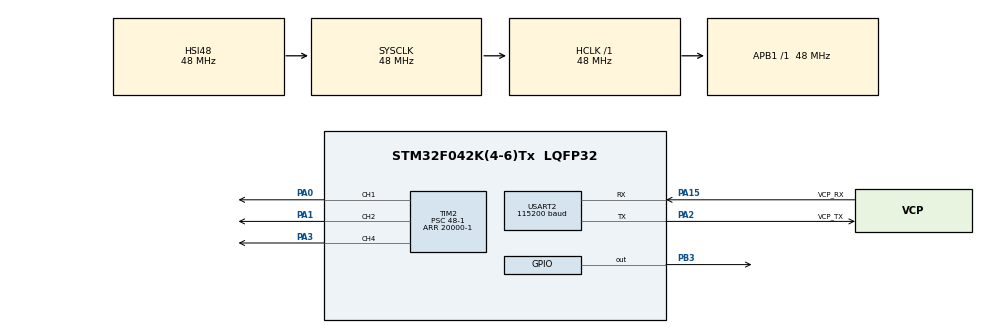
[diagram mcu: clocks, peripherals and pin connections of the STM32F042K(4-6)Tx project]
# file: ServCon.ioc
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Dma.Request0=USART2_RX
Dma.USART2_RX.0.Direction=DMA_PERIPH_TO_MEMORY
Dma.USART2_RX.0.Instance=DMA1_Channel5
Dma.USART2_RX.0.MemDataAlignment=DMA_MDATAALIGN_BYTE
Dma.USART2_RX.0.MemInc=DMA_MINC_ENABLE
Dma.USART2_RX.0.Mode=DMA_CIRCULAR
Dma.USART2_RX.0.PeriphDataAlignment=DMA_PDATAALIGN_BYTE
Dma.USART2_RX.0.PeriphInc=DMA_PINC_DISABLE
Dma.USART2_RX.0.Priority=DMA_PRIORITY_LOW
Mcu.Family=STM32F0
Mcu.Name=STM32F042K(4-6)Tx
Mcu.Package=LQFP32
NVIC.DMA1_Channel4_5_IRQn=true\:0\:0\:false\:false\:true\:false\:true\:true
NVIC.USART2_IRQn=true\:0\:0\:false\:false\:true\:true\:true\:true
PA0.Signal=S_TIM2_CH1_ETR
PA1.Signal=S_TIM2_CH2
PA13.GPIO_Label=SWDIO
PA13.Mode=Serial_Wire
PA13.Signal=SYS_SWDIO
PA14.GPIO_Label=SWCLK
PA14.Mode=Serial_Wire
PA14.Signal=SYS_SWCLK
PA15.GPIO_Label=VCP_RX
PA15.Mode=Asynchronous
PA15.Signal=USART2_RX
PA2.GPIO_Label=VCP_TX
PA2.Mode=Asynchronous
PA2.Signal=USART2_TX
PA3.Signal=S_TIM2_CH4
PB3.Signal=GPIO_Output
PF0-OSC_IN.GPIO_Label=MCO
PF0-OSC_IN.Mode=HSE-External-Clock-Source
PF0-OSC_IN.Signal=RCC_OSC_IN
ProjectManager.HeapSize=0x200
ProjectManager.StackSize=0x400
ProjectManager.TargetToolchain=STM32CubeIDE
RCC.AHBFreq_Value=48000000
RCC.APB1Freq_Value=48000000
RCC.APB1TimFreq_Value=48000000
RCC.HCLKFreq_Value=48000000
RCC.SYSCLKFreq_VALUE=48000000
RCC.SYSCLKSource=RCC_SYSCLKSOURCE_HSI48
SH.S_TIM2_CH1_ETR.0=TIM2_CH1,PWM Generation1 CH1
SH.S_TIM2_CH2.0=TIM2_CH2,PWM Generation2 CH2
SH.S_TIM2_CH4.0=TIM2_CH4,PWM Generation4 CH4
TIM2.AutoReloadPreload=TIM_AUTORELOAD_PRELOAD_ENABLE
TIM2.Channel-PWM\ Generation1\ CH1=TIM_CHANNEL_1
TIM2.Channel-PWM\ Generation2\ CH2=TIM_CHANNEL_2
TIM2.Channel-PWM\ Generation4\ CH4=TIM_CHANNEL_4
TIM2.Period=20000-1
TIM2.Prescaler=48-1
TIM2.Pulse-PWM\ Generation1\ CH1=0
USART2.BaudRate=115200
USART2.VirtualMode-Asynchronous=VM_ASYNC
VP_TIM2_VS_ClockSourceINT.Mode=Internal
board=NUCLEO-F042K6

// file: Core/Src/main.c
/* USER CODE BEGIN Header */
/**
  ******************************************************************************
  * @file           : main.c
  * @brief          : Main program body
  ******************************************************************************
  * @attention
  *
  * Copyright (c) 2022 STMicroelectronics.
  * All rights reserved.
  *
  * This software is licensed under terms that can be found in the LICENSE file
  * in the root directory of this software component.
  * If no LICENSE file comes with this software, it is provided AS-IS.
  *
  ******************************************************************************
  */
/* USER CODE END Header */
#include "main.h"

TIM_HandleTypeDef htim2;

UART_HandleTypeDef huart2;
DMA_HandleTypeDef hdma_usart2_rx;

void SystemClock_Config(void);
static void MX_GPIO_Init(void);
static void MX_DMA_Init(void);
static void MX_USART2_UART_Init(void);
static void MX_TIM2_Init(void);

/* USER CODE BEGIN 0 */
uint8_t Rx_data[2];  //  creating a buffer of 2 bytes

//void HAL_UART_RxHalfCpltCallback(UART_HandleTypeDef *huart)
//{
//  HAL_GPIO_TogglePin (GPIOB, GPIO_PIN_3);  // toggle PA0
//}

void HAL_UART_RxCpltCallback(UART_HandleTypeDef *huart)
{

  	HAL_UART_Receive_DMA(&huart2, Rx_data, 2);
}

int mapOutput(int steeringVal){
	return 2 * steeringVal + 1250;
}

void brakeAndThrottle(int accVal, int *throttle, int *brake){
	switch(accVal < 750){
		case 0:
			*throttle = 750;
			*brake = accVal;
		case 1:
			*throttle = accVal;
			*brake = 750;
	}
}

/* USER CODE END 0 */

int main(void)
{

  /* MCU Configuration--------------------------------------------------------*/

  /* Reset of all peripherals, Initializes the Flash interface and the Systick. */
  HAL_Init();

  /* Configure the system clock */
  SystemClock_Config();

  /* Initialize all configured peripherals */
  MX_GPIO_Init();
  MX_DMA_Init();
  MX_USART2_UART_Init();
  MX_TIM2_Init();
  /* USER CODE BEGIN 2 */
  HAL_TIM_Base_Start(&htim2);
  HAL_UART_Receive_DMA (&huart2, Rx_data, 2);
  HAL_TIM_PWM_Start(&htim2, TIM_CHANNEL_1);
  HAL_TIM_PWM_Start(&htim2, TIM_CHANNEL_2);
  HAL_TIM_PWM_Start(&htim2, TIM_CHANNEL_4);

//  int brake = 750;
//  int throttle = 750;
  int i;
  /* USER CODE END 2 */

  /* Infinite loop */
  /* USER CODE BEGIN WHILE */
  while (1)
  {
		__HAL_TIM_SET_COMPARE(&htim2, TIM_CHANNEL_1, mapOutput(Rx_data[0]));
		HAL_Delay(60);
//	  	brakeAndThrottle(Rx_data[1], &throttle, &brake);

//		__HAL_TIM_SET_COMPARE(&htim2, TIM_CHANNEL_1, 1750);
//		HAL_Delay(60);
//		__HAL_TIM_SET_COMPARE(&htim2, TIM_CHANNEL_1, 1250);
//		HAL_Delay(60);
//		mapOutput(Rx_data[0])
//		__HAL_TIM_SET_COMPARE(&htim2, TIM_CHANNEL_2, brake);
//		__HAL_TIM_SET_COMPARE(&htim2, TIM_CHANNEL_4, throttle);

    /* USER CODE END WHILE */

  }
}

void SystemClock_Config(void)
{
  RCC_OscInitTypeDef RCC_OscInitStruct = {0};
  RCC_ClkInitTypeDef RCC_ClkInitStruct = {0};

  /** Initializes the RCC Oscillators according to the specified parameters
  * in the RCC_OscInitTypeDef structure.
  */
  RCC_OscInitStruct.OscillatorType = RCC_OSCILLATORTYPE_HSI48;
  RCC_OscInitStruct.HSI48State = RCC_HSI48_ON;
  RCC_OscInitStruct.PLL.PLLState = RCC_PLL_NONE;
  if (HAL_RCC_OscConfig(&RCC_OscInitStruct) != HAL_OK)
  {
    Error_Handler();
  }

  /** Initializes the CPU, AHB and APB buses clocks
  */
  RCC_ClkInitStruct.ClockType = RCC_CLOCKTYPE_HCLK|RCC_CLOCKTYPE_SYSCLK
                              |RCC_CLOCKTYPE_PCLK1;
  RCC_ClkInitStruct.SYSCLKSource = RCC_SYSCLKSOURCE_HSI48;
  RCC_ClkInitStruct.AHBCLKDivider = RCC_SYSCLK_DIV1;
  RCC_ClkInitStruct.APB1CLKDivider = RCC_HCLK_DIV1;

  if (HAL_RCC_ClockConfig(&RCC_ClkInitStruct, FLASH_LATENCY_1) != HAL_OK)
  {
    Error_Handler();
  }
}

static void MX_TIM2_Init(void)
{

  TIM_ClockConfigTypeDef sClockSourceConfig = {0};
  TIM_MasterConfigTypeDef sMasterConfig = {0};
  TIM_OC_InitTypeDef sConfigOC = {0};

  htim2.Instance = TIM2;
  htim2.Init.Prescaler = 48-1;
  htim2.Init.CounterMode = TIM_COUNTERMODE_UP;
  htim2.Init.Period = 20000-1;
  htim2.Init.ClockDivision = TIM_CLOCKDIVISION_DIV1;
  htim2.Init.AutoReloadPreload = TIM_AUTORELOAD_PRELOAD_ENABLE;
  if (HAL_TIM_Base_Init(&htim2) != HAL_OK)
  {
    Error_Handler();
  }
  sClockSourceConfig.ClockSource = TIM_CLOCKSOURCE_INTERNAL;
  if (HAL_TIM_ConfigClockSource(&htim2, &sClockSourceConfig) != HAL_OK)
  {
    Error_Handler();
  }
  if (HAL_TIM_PWM_Init(&htim2) != HAL_OK)
  {
    Error_Handler();
  }
  sMasterConfig.MasterOutputTrigger = TIM_TRGO_RESET;
  sMasterConfig.MasterSlaveMode = TIM_MASTERSLAVEMODE_DISABLE;
  if (HAL_TIMEx_MasterConfigSynchronization(&htim2, &sMasterConfig) != HAL_OK)
  {
    Error_Handler();
  }
  sConfigOC.OCMode = TIM_OCMODE_PWM1;
  sConfigOC.Pulse = 0;
  sConfigOC.OCPolarity = TIM_OCPOLARITY_HIGH;
  sConfigOC.OCFastMode = TIM_OCFAST_DISABLE;
  if (HAL_TIM_PWM_ConfigChannel(&htim2, &sConfigOC, TIM_CHANNEL_1) != HAL_OK)
  {
    Error_Handler();
  }
  if (HAL_TIM_PWM_ConfigChannel(&htim2, &sConfigOC, TIM_CHANNEL_2) != HAL_OK)
  {
    Error_Handler();
  }
  if (HAL_TIM_PWM_ConfigChannel(&htim2, &sConfigOC, TIM_CHANNEL_4) != HAL_OK)
  {
    Error_Handler();
  }
  HAL_TIM_MspPostInit(&htim2);

}

static void MX_USART2_UART_Init(void)
{

  huart2.Instance = USART2;
  huart2.Init.BaudRate = 115200;
  huart2.Init.WordLength = UART_WORDLENGTH_8B;
  huart2.Init.StopBits = UART_STOPBITS_1;
  huart2.Init.Parity = UART_PARITY_NONE;
  huart2.Init.Mode = UART_MODE_TX_RX;
  huart2.Init.HwFlowCtl = UART_HWCONTROL_NONE;
  huart2.Init.OverSampling = UART_OVERSAMPLING_16;
  huart2.Init.OneBitSampling = UART_ONE_BIT_SAMPLE_DISABLE;
  huart2.AdvancedInit.AdvFeatureInit = UART_ADVFEATURE_NO_INIT;
  if (HAL_UART_Init(&huart2) != HAL_OK)
  {
    Error_Handler();
  }

}

static void MX_DMA_Init(void)
{

  /* DMA controller clock enable */
  __HAL_RCC_DMA1_CLK_ENABLE();

  /* DMA interrupt init */
  /* DMA1_Channel4_5_IRQn interrupt configuration */
  HAL_NVIC_SetPriority(DMA1_Channel4_5_IRQn, 0, 0);
  HAL_NVIC_EnableIRQ(DMA1_Channel4_5_IRQn);

}

static void MX_GPIO_Init(void)
{
  GPIO_InitTypeDef GPIO_InitStruct = {0};

  /* GPIO Ports Clock Enable */
  __HAL_RCC_GPIOF_CLK_ENABLE();
  __HAL_RCC_GPIOA_CLK_ENABLE();
  __HAL_RCC_GPIOB_CLK_ENABLE();

  /*Configure GPIO pin Output Level */
  HAL_GPIO_WritePin(GPIOB, GPIO_PIN_3, GPIO_PIN_RESET);

  /*Configure GPIO pin : PB3 */
  GPIO_InitStruct.Pin = GPIO_PIN_3;
  GPIO_InitStruct.Mode = GPIO_MODE_OUTPUT_PP;
  GPIO_InitStruct.Pull = GPIO_NOPULL;
  GPIO_InitStruct.Speed = GPIO_SPEED_FREQ_LOW;
  HAL_GPIO_Init(GPIOB, &GPIO_InitStruct);

}

void Error_Handler(void)
{
  __disable_irq();
  while (1)
  {
  }
}
